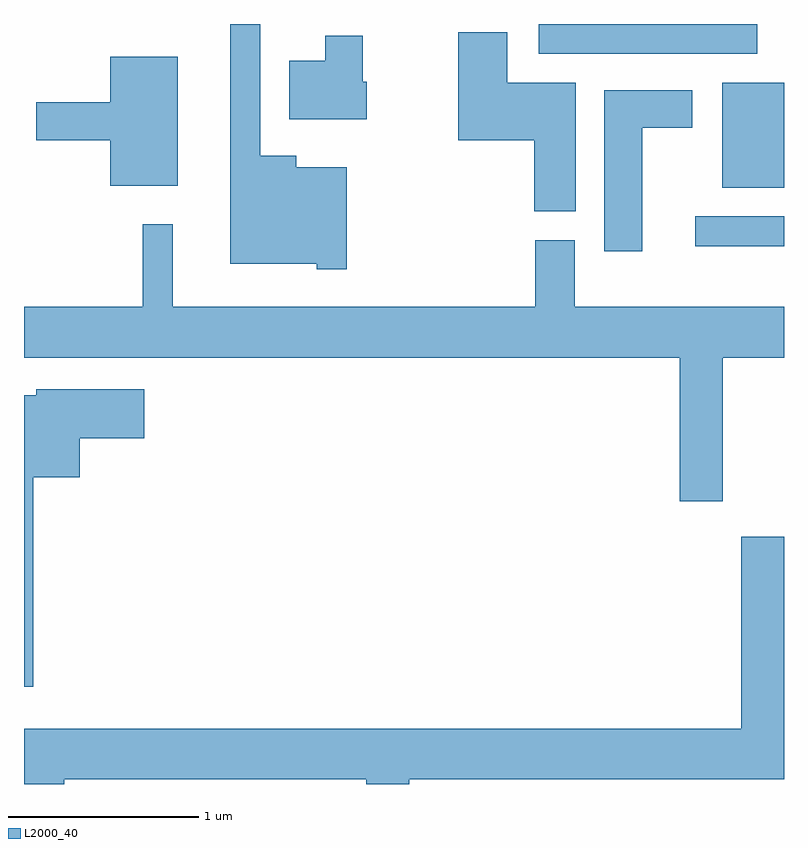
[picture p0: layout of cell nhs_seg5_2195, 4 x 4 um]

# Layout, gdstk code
import gdstk
lib = gdstk.Library(unit=1e-6, precision=1e-09)
def R(c, l, rs):  # rectangles x0, y0, x1, y1
    for r in rs: c.add(gdstk.rectangle(r[:2], r[2:], *l))
def P(c, l, *ps):  # polygons
    for p in ps: c.add(gdstk.Polygon(p, *l))
L2000_40 = (2000, 40)

nhs_seg5_2195 = lib.new_cell('nhs_seg5_2195')
R(nhs_seg5_2195, L2000_40, [(253.143,1492.901,253.611,1493.059), (253.286,1493.211,253.611,1493.764), (252.321,1493.916,253.469,1494.072)])
P(nhs_seg5_2195, L2000_40, [(251.309,1493.319),(251.044,1493.319),(251.044,1493.379),(250.854,1493.379),(250.854,1494.072),(250.696,1494.072),(250.696,1492.811),(251.151,1492.811),(251.151,1492.781),(251.309,1492.781)],
  [(252.514,1493.764),(252.154,1493.764),(252.154,1494.029),(251.896,1494.029),(251.896,1493.461),(252.296,1493.461),(252.296,1493.086),(252.514,1493.086)],
  [(251.414,1493.769),(251.394,1493.769),(251.394,1494.009),(251.196,1494.009),(251.196,1493.879),(251.006,1493.879),(251.006,1493.571),(251.414,1493.571)],
  [(250.419,1493.899),(250.066,1493.899),(250.066,1493.659),(249.676,1493.659),(249.676,1493.461),(250.066,1493.461),(250.066,1493.221),(250.419,1493.221)],
  [(252.864,1493.526),(253.129,1493.526),(253.129,1493.724),(252.666,1493.724),(252.666,1492.876),(252.864,1492.876)],
  [(253.289,1492.316),(253.611,1492.316),(253.611,1492.584),(252.509,1492.584),(252.509,1492.934),(252.301,1492.934),(252.301,1492.584),(250.394,1492.584),(250.394,1493.018),(250.236,1493.018),(250.236,1492.584),(249.611,1492.584),(249.611,1492.316),(253.061,1492.316),(253.061,1491.561),(253.289,1491.561)],
  [(249.659,1491.686),(249.904,1491.686),(249.904,1491.891),(250.244,1491.891),(250.244,1492.149),(249.676,1492.149),(249.676,1492.119),(249.611,1492.119),(249.611,1490.583),(249.659,1490.583)],
  [(249.824,1490.096),(251.411,1490.096),(251.411,1490.072),(251.639,1490.072),(251.639,1490.096),(253.611,1490.096),(253.611,1491.374),(253.386,1491.374),(253.386,1490.364),(249.611,1490.364),(249.611,1490.072),(249.824,1490.072)])

lib.write_gds('nhs_seg5_2195.gds')
